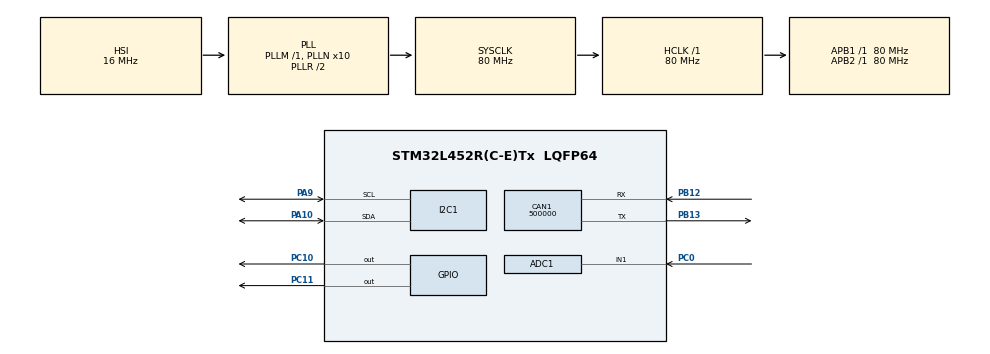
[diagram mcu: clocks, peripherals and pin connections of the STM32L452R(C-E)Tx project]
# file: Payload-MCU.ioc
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ADC1.Channel-0\#ChannelRegularConversion=ADC_CHANNEL_1
ADC1.NbrOfConversionFlag=1
ADC1.OffsetNumber-0\#ChannelRegularConversion=ADC_OFFSET_NONE
ADC1.Rank-0\#ChannelRegularConversion=1
ADC1.SamplingTime-0\#ChannelRegularConversion=ADC_SAMPLETIME_2CYCLES_5
ADC1.master=1
CAN1.BS1=CAN_BS1_5TQ
CAN1.BS2=CAN_BS2_4TQ
CAN1.CalculateBaudRate=500000
CAN1.CalculateTimeBit=2000
CAN1.CalculateTimeQuantum=200.0
I2C1.Timing=0x10909CEC
Mcu.Family=STM32L4
Mcu.Name=STM32L452R(C-E)Tx
Mcu.Package=LQFP64
NVIC.CAN1_RX0_IRQn=true\:0\:0\:false\:false\:true\:true\:true\:true
NVIC.PriorityGroup=NVIC_PRIORITYGROUP_4
NVIC.TIM2_IRQn=true\:0\:0\:false\:false\:true\:true\:true\:true
PA10.Mode=I2C
PA10.Signal=I2C1_SDA
PA13\ (JTMS/SWDIO).Mode=Trace_Asynchronous_SW
PA13\ (JTMS/SWDIO).Signal=SYS_JTMS-SWDIO
PA14\ (JTCK/SWCLK).Mode=Trace_Asynchronous_SW
PA14\ (JTCK/SWCLK).Signal=SYS_JTCK-SWCLK
PA9.Mode=I2C
PA9.Signal=I2C1_SCL
PB12.Mode=CAN_Activate
PB12.Signal=CAN1_RX
PB13.Mode=CAN_Activate
PB13.Signal=CAN1_TX
PB3\ (JTDO/TRACESWO).Mode=Trace_Asynchronous_SW
PB3\ (JTDO/TRACESWO).Signal=SYS_JTDO-SWO
PC0.Signal=ADCx_IN1
PC10.Signal=GPIO_Output
PC11.Signal=GPIO_Output
PH3-BOOT0\ (BOOT0).Signal=EVENTOUT
ProjectManager.HeapSize=0x200
ProjectManager.StackSize=0x400
ProjectManager.TargetToolchain=STM32CubeIDE
RCC.ADCFreq_Value=64000000
RCC.AHBFreq_Value=80000000
RCC.APB1Freq_Value=80000000
RCC.APB1TimFreq_Value=80000000
RCC.APB2Freq_Value=80000000
RCC.APB2TimFreq_Value=80000000
RCC.CortexFreq_Value=80000000
RCC.HCLKFreq_Value=80000000
RCC.HSE_VALUE=8000000
RCC.HSI48_VALUE=48000000
RCC.HSI_VALUE=16000000
RCC.LSE_VALUE=32768
RCC.MSI_VALUE=4000000
RCC.PLLN=10
RCC.PLLSourceVirtual=RCC_PLLSOURCE_HSI
RCC.SYSCLKFreq_VALUE=80000000
RCC.SYSCLKSource=RCC_SYSCLKSOURCE_PLLCLK
RCC.USBFreq_Value=64000000
RCC.VCOOutputFreq_Value=160000000
SH.ADCx_IN1.0=ADC1_IN1,IN1-Single-Ended
TIM16.Period=5000 - 1
TIM16.Prescaler=80 - 1
VP_TIM16_VS_ClockSourceINT.Mode=Enable_Timer
VP_TIM2_VS_ClockSourceINT.Mode=Internal
board=custom

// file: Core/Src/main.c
/* USER CODE BEGIN Header */
/**
  ******************************************************************************
  * @file           : main.c
  * @brief          : Main program body
  ******************************************************************************
  * @attention
  *
  * Copyright (c) 2023 STMicroelectronics.
  * All rights reserved.
  *
  * This software is licensed under terms that can be found in the LICENSE file
  * in the root directory of this software component.
  * If no LICENSE file comes with this software, it is provided AS-IS.
  *
  ******************************************************************************
  */
/* USER CODE END Header */
#include "main.h"
#include "adc.h"
#include "can.h"
#include "i2c.h"
#include "tim.h"
#include "gpio.h"

/* USER CODE BEGIN Includes */
#include "core.h"
#include <stdio.h>
#include "tuk/debug/print.h"
/* USER CODE END Includes */

void SystemClock_Config(void);

/* USER CODE BEGIN 0 */
#define PRINT_SUBJECT "Core"

/* Function used by printf() to direct output to SWO, prototype in syscalls.c */
__attribute__((weak)) int _write(int file, char *ptr, int len)
{
  (void)file;
  int DataIdx;

  for (DataIdx = 0; DataIdx < len; DataIdx++)
  {
    ITM_SendChar(*ptr++);
  }
  return len;
}

/* USER CODE END 0 */

int main(void)
{

  /* MCU Configuration--------------------------------------------------------*/

  /* Reset of all peripherals, Initializes the Flash interface and the Systick. */
  HAL_Init();

  /* Configure the system clock */
  SystemClock_Config();

  /* Initialize all configured peripherals */
  MX_GPIO_Init();
  MX_I2C1_Init();
  MX_CAN1_Init();
  MX_ADC1_Init();
  MX_TIM2_Init();
  MX_TIM16_Init();
  /* USER CODE BEGIN 2 */
  Core_Init();
  /* USER CODE END 2 */

  /* Infinite loop */
  /* USER CODE BEGIN WHILE */
  while (1)
  {
	Core_Update();
    /* USER CODE END WHILE */

  }
}

void SystemClock_Config(void)
{
  RCC_OscInitTypeDef RCC_OscInitStruct = {0};
  RCC_ClkInitTypeDef RCC_ClkInitStruct = {0};

  /** Configure the main internal regulator output voltage
  */
  if (HAL_PWREx_ControlVoltageScaling(PWR_REGULATOR_VOLTAGE_SCALE1) != HAL_OK)
  {
    Error_Handler();
  }

  /** Initializes the RCC Oscillators according to the specified parameters
  * in the RCC_OscInitTypeDef structure.
  */
  RCC_OscInitStruct.OscillatorType = RCC_OSCILLATORTYPE_HSI;
  RCC_OscInitStruct.HSIState = RCC_HSI_ON;
  RCC_OscInitStruct.HSICalibrationValue = RCC_HSICALIBRATION_DEFAULT;
  RCC_OscInitStruct.PLL.PLLState = RCC_PLL_ON;
  RCC_OscInitStruct.PLL.PLLSource = RCC_PLLSOURCE_HSI;
  RCC_OscInitStruct.PLL.PLLM = 1;
  RCC_OscInitStruct.PLL.PLLN = 10;
  RCC_OscInitStruct.PLL.PLLP = RCC_PLLP_DIV7;
  RCC_OscInitStruct.PLL.PLLQ = RCC_PLLQ_DIV2;
  RCC_OscInitStruct.PLL.PLLR = RCC_PLLR_DIV2;
  if (HAL_RCC_OscConfig(&RCC_OscInitStruct) != HAL_OK)
  {
    Error_Handler();
  }

  /** Initializes the CPU, AHB and APB buses clocks
  */
  RCC_ClkInitStruct.ClockType = RCC_CLOCKTYPE_HCLK|RCC_CLOCKTYPE_SYSCLK
                              |RCC_CLOCKTYPE_PCLK1|RCC_CLOCKTYPE_PCLK2;
  RCC_ClkInitStruct.SYSCLKSource = RCC_SYSCLKSOURCE_PLLCLK;
  RCC_ClkInitStruct.AHBCLKDivider = RCC_SYSCLK_DIV1;
  RCC_ClkInitStruct.APB1CLKDivider = RCC_HCLK_DIV1;
  RCC_ClkInitStruct.APB2CLKDivider = RCC_HCLK_DIV1;

  if (HAL_RCC_ClockConfig(&RCC_ClkInitStruct, FLASH_LATENCY_4) != HAL_OK)
  {
    Error_Handler();
  }
}

/* USER CODE BEGIN 4 */
#undef PRINT_SUBJECT
#define PRINT_SUBJECT "HAL"
/* USER CODE END 4 */

void Error_Handler(void)
{
  /* USER CODE BEGIN Error_Handler_Debug */
  /* User can add his own implementation to report the HAL error return state */
  __disable_irq();

  PRINT_ERROR("error occurred. Halting program.\r\n");

  while (1)
  {}
  /* USER CODE END Error_Handler_Debug */
}

#ifdef  USE_FULL_ASSERT
/**
  * @brief  Reports the name of the source file and the source line number
  *         where the assert_param error has occurred.
  * @param  file: pointer to the source file name
  * @param  line: assert_param error line source number
  * @retval None
  */
void assert_failed(uint8_t *file, uint32_t line)
{
  /* USER CODE BEGIN 6 */
  /* User can add his own implementation to report the file name and line number,
     ex: printf("Wrong parameters value: file %s on line %d\r\n", file, line) */
  PRINT_ERROR("invalid argument for HAL function. (in '%s':%d)\r\nlogged on line:", file, line);

  assertion_failed(); // see assert.c
  /* USER CODE END 6 */
}
#endif /* USE_FULL_ASSERT */
